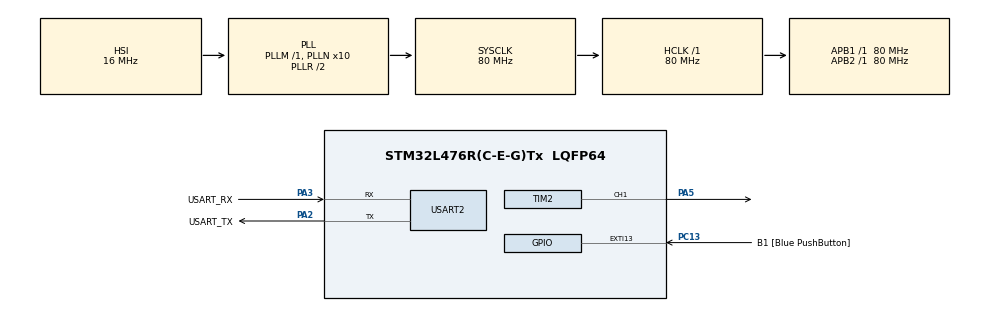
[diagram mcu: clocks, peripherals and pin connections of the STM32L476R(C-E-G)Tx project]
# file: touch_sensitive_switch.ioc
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Mcu.Family=STM32L4
Mcu.Name=STM32L476R(C-E-G)Tx
Mcu.Package=LQFP64
NVIC.PriorityGroup=NVIC_PRIORITYGROUP_4
PA13\ (JTMS-SWDIO).GPIO_Label=TMS
PA13\ (JTMS-SWDIO).Mode=Serial_Wire
PA13\ (JTMS-SWDIO).Signal=SYS_JTMS-SWDIO
PA14\ (JTCK-SWCLK).GPIO_Label=TCK
PA14\ (JTCK-SWCLK).Mode=Serial_Wire
PA14\ (JTCK-SWCLK).Signal=SYS_JTCK-SWCLK
PA2.GPIO_Label=USART_TX
PA2.GPIO_Mode=GPIO_MODE_AF_PP
PA2.GPIO_PuPd=GPIO_NOPULL
PA2.GPIO_Speed=GPIO_SPEED_FREQ_VERY_HIGH
PA2.Mode=Asynchronous
PA2.Signal=USART2_TX
PA3.GPIO_Label=USART_RX
PA3.GPIO_Mode=GPIO_MODE_AF_PP
PA3.GPIO_PuPd=GPIO_NOPULL
PA3.GPIO_Speed=GPIO_SPEED_FREQ_VERY_HIGH
PA3.Mode=Asynchronous
PA3.Signal=USART2_RX
PA5.Signal=S_TIM2_CH1
PB3\ (JTDO-TRACESWO).GPIO_Label=SWO
PB3\ (JTDO-TRACESWO).Signal=SYS_JTDO-SWO
PC13.GPIO_Label=B1 [Blue PushButton]
PC13.GPIO_ModeDefaultEXTI=GPIO_MODE_IT_FALLING
PC13.GPIO_PuPd=GPIO_NOPULL
PC13.Signal=GPXTI13
PC14-OSC32_IN\ (PC14).Signal=RCC_OSC32_IN
PC15-OSC32_OUT\ (PC15).Signal=RCC_OSC32_OUT
PH0-OSC_IN\ (PH0).Signal=RCC_OSC_IN
PH1-OSC_OUT\ (PH1).Signal=RCC_OSC_OUT
ProjectManager.HeapSize=0x200
ProjectManager.StackSize=0x400
ProjectManager.TargetToolchain=STM32CubeIDE
RCC.ADCFreq_Value=64000000
RCC.AHBFreq_Value=80000000
RCC.APB1Freq_Value=80000000
RCC.APB1TimFreq_Value=80000000
RCC.APB2Freq_Value=80000000
RCC.APB2TimFreq_Value=80000000
RCC.CortexFreq_Value=80000000
RCC.HCLKFreq_Value=80000000
RCC.HSE_VALUE=8000000
RCC.HSI_VALUE=16000000
RCC.MSI_VALUE=4000000
RCC.PLLN=10
RCC.PLLSourceVirtual=RCC_PLLSOURCE_HSI
RCC.PREFETCH_ENABLE=1
RCC.SYSCLKFreq_VALUE=80000000
RCC.SYSCLKSource=RCC_SYSCLKSOURCE_PLLCLK
RCC.USBFreq_Value=64000000
RCC.VCOOutputFreq_Value=160000000
SH.S_TIM2_CH1.0=TIM2_CH1,PWM Generation1 CH1
TIM2.Channel-PWM\ Generation1\ CH1=TIM_CHANNEL_1
TIM2.Period=1000
TIM2.Prescaler=8
USART2.VirtualMode-Asynchronous=VM_ASYNC
VP_TIM2_VS_ClockSourceINT.Mode=Internal
board=NUCLEO-L476RG

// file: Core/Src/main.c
/* USER CODE BEGIN Header */
/**
  ******************************************************************************
  * @file           : main.c
  * @brief          : Main program body
  ******************************************************************************
  * @attention
  *
  * <h2><center>&copy; Copyright (c) 2020 STMicroelectronics.
  * All rights reserved.</center></h2>
  *
  * This software component is licensed by ST under BSD 3-Clause license,
  * the "License"; You may not use this file except in compliance with the
  * License. You may obtain a copy of the License at:
  *                        opensource.org/licenses/BSD-3-Clause
  *
  ******************************************************************************
  */
/* USER CODE END Header */

#include "main.h"

TIM_HandleTypeDef htim2;

UART_HandleTypeDef huart2;

void SystemClock_Config(void);
static void MX_GPIO_Init(void);
static void MX_TIM2_Init(void);
static void MX_USART2_UART_Init(void);

int main(void)
{

  /* MCU Configuration--------------------------------------------------------*/

  /* Reset of all peripherals, Initializes the Flash interface and the Systick. */
  HAL_Init();

  /* Configure the system clock */
  SystemClock_Config();

  /* Initialize all configured peripherals */
  MX_GPIO_Init();
  MX_TIM2_Init();
  MX_USART2_UART_Init();
  /* USER CODE BEGIN 2 */

  HAL_TIM_PWM_Start(&htim2, TIM_CHANNEL_1);

  events Switch_Event = Start;
  User_Action = release;

  on = 0;
  L = 0;
  OL = 0;
  Max = 10;

  Wait = 15;
  epsilon = 50;
  delta = 500;
  delay = 500;

  x_flag = 0;

  z = 0;
  x = 0;

  /* USER CODE END 2 */

  /* Infinite loop */
  while (1)
  {

    /* USER CODE BEGIN 3 */

	switch (Switch_Event) {
		case Start:
			x_flag = 0;

	  		if (User_Action == grasp) {
	  			Switch_Event = Epsilon;
	  			x = 0;
	  		}
	  		break;
	  	case Epsilon:
	  		x_flag = 1;

	  		if (x < epsilon && User_Action == release) {
	  			Switch_Event = Start;
	  		}
	  		else if (x == epsilon) {
	  			Switch_Event = Delta;
	  		}
	  		break;
	  	case Delta:
	  		if (x < delta && User_Action == release) {
	  			Switch_Event = Touch;
	  		}
	  		else if (x == delta) {
	  			Switch_Event = Starthold;
	  		}
	  		break;
	  	case Touch:
	  		Touch_State();
	  		Switch_Event = Start;
	  		break;
	  	case Starthold:
	  		if (User_Action == grasp) {
	  			Dimmer_State(Switch_Event);
	  		}
	  		else if (User_Action == release) {
	  			Switch_Event = Endhold;
	  		}
	  		break;
	  	case Endhold:
  			Dimmer_State(Switch_Event);
  			Switch_Event = Start;
  			break;
	  	}

	set_output();
  }
  /* USER CODE END 3 */
}

void SystemClock_Config(void)
{
  RCC_OscInitTypeDef RCC_OscInitStruct = {0};
  RCC_ClkInitTypeDef RCC_ClkInitStruct = {0};
  RCC_PeriphCLKInitTypeDef PeriphClkInit = {0};

  /** Initializes the CPU, AHB and APB busses clocks
  */
  RCC_OscInitStruct.OscillatorType = RCC_OSCILLATORTYPE_HSI;
  RCC_OscInitStruct.HSIState = RCC_HSI_ON;
  RCC_OscInitStruct.HSICalibrationValue = RCC_HSICALIBRATION_DEFAULT;
  RCC_OscInitStruct.PLL.PLLState = RCC_PLL_ON;
  RCC_OscInitStruct.PLL.PLLSource = RCC_PLLSOURCE_HSI;
  RCC_OscInitStruct.PLL.PLLM = 1;
  RCC_OscInitStruct.PLL.PLLN = 10;
  RCC_OscInitStruct.PLL.PLLP = RCC_PLLP_DIV7;
  RCC_OscInitStruct.PLL.PLLQ = RCC_PLLQ_DIV2;
  RCC_OscInitStruct.PLL.PLLR = RCC_PLLR_DIV2;
  if (HAL_RCC_OscConfig(&RCC_OscInitStruct) != HAL_OK)
  {
    Error_Handler();
  }
  /** Initializes the CPU, AHB and APB busses clocks
  */
  RCC_ClkInitStruct.ClockType = RCC_CLOCKTYPE_HCLK|RCC_CLOCKTYPE_SYSCLK
                              |RCC_CLOCKTYPE_PCLK1|RCC_CLOCKTYPE_PCLK2;
  RCC_ClkInitStruct.SYSCLKSource = RCC_SYSCLKSOURCE_PLLCLK;
  RCC_ClkInitStruct.AHBCLKDivider = RCC_SYSCLK_DIV1;
  RCC_ClkInitStruct.APB1CLKDivider = RCC_HCLK_DIV1;
  RCC_ClkInitStruct.APB2CLKDivider = RCC_HCLK_DIV1;

  if (HAL_RCC_ClockConfig(&RCC_ClkInitStruct, FLASH_LATENCY_4) != HAL_OK)
  {
    Error_Handler();
  }
  PeriphClkInit.PeriphClockSelection = RCC_PERIPHCLK_USART2;
  PeriphClkInit.Usart2ClockSelection = RCC_USART2CLKSOURCE_PCLK1;
  if (HAL_RCCEx_PeriphCLKConfig(&PeriphClkInit) != HAL_OK)
  {
    Error_Handler();
  }
  /** Configure the main internal regulator output voltage
  */
  if (HAL_PWREx_ControlVoltageScaling(PWR_REGULATOR_VOLTAGE_SCALE1) != HAL_OK)
  {
    Error_Handler();
  }
}

static void MX_TIM2_Init(void)
{

  TIM_ClockConfigTypeDef sClockSourceConfig = {0};
  TIM_MasterConfigTypeDef sMasterConfig = {0};
  TIM_OC_InitTypeDef sConfigOC = {0};

  htim2.Instance = TIM2;
  htim2.Init.Prescaler = 8;
  htim2.Init.CounterMode = TIM_COUNTERMODE_UP;
  htim2.Init.Period = 1000;
  htim2.Init.ClockDivision = TIM_CLOCKDIVISION_DIV1;
  htim2.Init.AutoReloadPreload = TIM_AUTORELOAD_PRELOAD_DISABLE;
  if (HAL_TIM_Base_Init(&htim2) != HAL_OK)
  {
    Error_Handler();
  }
  sClockSourceConfig.ClockSource = TIM_CLOCKSOURCE_INTERNAL;
  if (HAL_TIM_ConfigClockSource(&htim2, &sClockSourceConfig) != HAL_OK)
  {
    Error_Handler();
  }
  if (HAL_TIM_PWM_Init(&htim2) != HAL_OK)
  {
    Error_Handler();
  }
  sMasterConfig.MasterOutputTrigger = TIM_TRGO_RESET;
  sMasterConfig.MasterSlaveMode = TIM_MASTERSLAVEMODE_DISABLE;
  if (HAL_TIMEx_MasterConfigSynchronization(&htim2, &sMasterConfig) != HAL_OK)
  {
    Error_Handler();
  }
  sConfigOC.OCMode = TIM_OCMODE_PWM1;
  sConfigOC.Pulse = 0;
  sConfigOC.OCPolarity = TIM_OCPOLARITY_HIGH;
  sConfigOC.OCFastMode = TIM_OCFAST_DISABLE;
  if (HAL_TIM_PWM_ConfigChannel(&htim2, &sConfigOC, TIM_CHANNEL_1) != HAL_OK)
  {
    Error_Handler();
  }
  HAL_TIM_MspPostInit(&htim2);

}

static void MX_USART2_UART_Init(void)
{

  huart2.Instance = USART2;
  huart2.Init.BaudRate = 115200;
  huart2.Init.WordLength = UART_WORDLENGTH_8B;
  huart2.Init.StopBits = UART_STOPBITS_1;
  huart2.Init.Parity = UART_PARITY_NONE;
  huart2.Init.Mode = UART_MODE_TX_RX;
  huart2.Init.HwFlowCtl = UART_HWCONTROL_NONE;
  huart2.Init.OverSampling = UART_OVERSAMPLING_16;
  huart2.Init.OneBitSampling = UART_ONE_BIT_SAMPLE_DISABLE;
  huart2.AdvancedInit.AdvFeatureInit = UART_ADVFEATURE_NO_INIT;
  if (HAL_UART_Init(&huart2) != HAL_OK)
  {
    Error_Handler();
  }

}

static void MX_GPIO_Init(void)
{
  GPIO_InitTypeDef GPIO_InitStruct = {0};

  /* GPIO Ports Clock Enable */
  __HAL_RCC_GPIOC_CLK_ENABLE();
  __HAL_RCC_GPIOH_CLK_ENABLE();
  __HAL_RCC_GPIOA_CLK_ENABLE();
  __HAL_RCC_GPIOB_CLK_ENABLE();

  /*Configure GPIO pin : B1_Pin */
  GPIO_InitStruct.Pin = B1_Pin;
  GPIO_InitStruct.Mode = GPIO_MODE_IT_FALLING;
  GPIO_InitStruct.Pull = GPIO_NOPULL;
  HAL_GPIO_Init(B1_GPIO_Port, &GPIO_InitStruct);

}

/* USER CODE BEGIN 4 */

void Find_Button_Press(void) {
	static states Button_State = Waiting;
	static uint8_t Button_Count = 0;
	static uint8_t Temp_Press = 0;

	switch (Button_State) {
		case Waiting:
			if (BUTTON) {
				Button_State = Detected;
				Button_Count = 0;
				Temp_Press = BUTTON;
			}
			break;
		case Detected:
			if (Temp_Press == BUTTON) {
				Button_Count++;
				if (Button_Count > MIN_BUTTON_COUNT) {
//					Button_State = WaitForRelease;
					Button_State = Update;
				}
			}
			else {
				Button_State = Waiting;
			}
			break;
		case WaitForRelease:
			if (!BUTTON) {
				Button_State = Update;
			}
			break;
		case Update:
			User_Action = grasp;
			Button_State = Waiting;
			Button_Count = 0;
			Temp_Press = 0;
			break;
	}
}

void Touch_State(void) {
	switch (on) {
		case 0:
			L = OL;
			on = 1;
			break;
		case 1:
			OL = L;
			L = 0;
			on = 0;
			break;
	}
}

void Dimmer_State(uint8_t switch_event) {
	static dimmer Light_Dimmer = waitBrightUp;

	switch (Light_Dimmer) {
		case waitBrightUp:
			if (switch_event == Starthold) {
				L = OL;
				x = 0;
				on = 1;
				Light_Dimmer = brightUp;
			}
			break;
		case brightUp:
			if (switch_event == Endhold) {
				Light_Dimmer = waitBrightDown;
//				Light_Dimmer = waitBrightUp;
			}
			else if (x == delay) {
				if (L < Max) {
					L++;
					x = 0;
				}
				else if (L == Max) {
					Light_Dimmer = brightDown;
				}
			}
			break;
		case waitBrightDown:
			if (switch_event == Starthold) {
				OL = L;
//				L = OL;
				x = 0;
				on = 1;
				Light_Dimmer = brightDown;
			}
			break;
		case brightDown:
			if (switch_event == Endhold) {
				Light_Dimmer = waitBrightUp;
//				Light_Dimmer = waitBrightDown;
			}
			else if (x == delay) {
				if (L > 0) {
					L--;
					x = 0;
				}
				else if (L == 0) {
					Light_Dimmer = brightUp;
				}
			}
			break;
	}
}

void set_output(void) {
	if (on) {
		__HAL_TIM_SET_COMPARE(&htim2, TIM_CHANNEL_1, L*100);
	}
	else {
		__HAL_TIM_SET_COMPARE(&htim2, TIM_CHANNEL_1, 0);
	}
}

/* USER CODE END 4 */

void Error_Handler(void)
{
}

/************************ (C) COPYRIGHT STMicroelectronics *****END OF FILE****/
